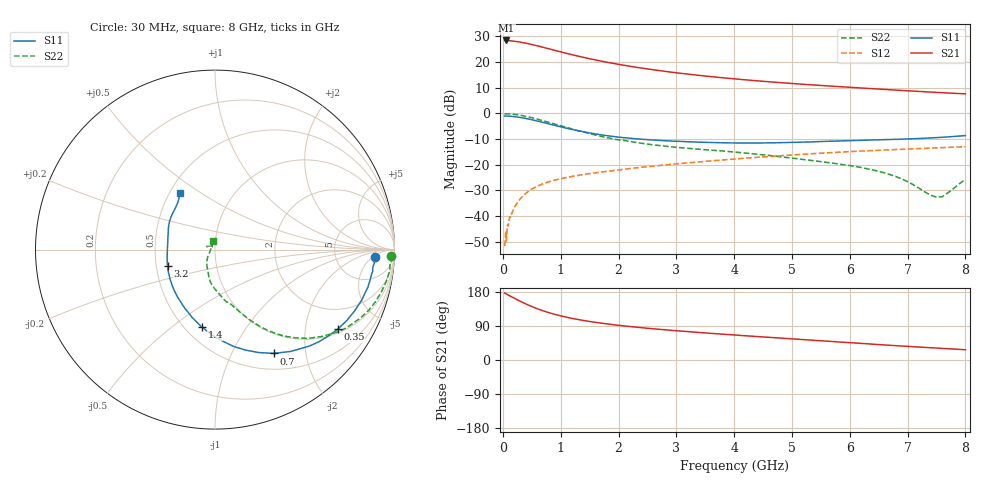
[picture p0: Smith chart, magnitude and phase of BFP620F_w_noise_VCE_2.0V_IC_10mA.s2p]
! Infineon Technologies  Discrete & RF Semiconductors
! BFP620F
! VCE =  2.0 V,  IC =  10 mA
! Common Emitter S-Parameters:  Dec 2014
# GHz  S  MA  R  50
!  f  S11  S21  S12  S22
! GHz  MAG  ANG  MAG  ANG  MAG  ANG  MAG  ANG
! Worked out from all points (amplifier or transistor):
!   95 points, 30 MHz to 8 GHz, reference 50 ohm
!   highest |S21| = 28.4 dB at 60 MHz (marker M1)
!   |S21| within 3 dB of that: start of sweep to 753.8 MHz
!   unconditionally stable (mu >= 1): 3.924 GHz to end of sweep
!   at 300 MHz: K = 0.17, MSG = 30.5 dB, |S12| = -33.4 dB
!   at 3.3 GHz: K = 0.96, MSG = 17.0 dB, |S12| = -19.1 dB
!   at 8 GHz: K = 1.09, MAG = 8.5 dB, |S12| = -13.0 dB
!   lowest NFmin = 0.60 dB at 450 MHz
!   S11 on the Smith chart (normalised r, x): 30 MHz: 15, -6; 350 MHz: 1.13, -2.99; 700 MHz: 0.71, -1.47; 1.4 GHz: 0.60, -0.64; 3.2 GHz: 0.57, -0.12; 8 GHz: 0.56, +0.41
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0.03  0.8906 -2.8  26.26 176.9  0.0026 77.8  0.9819 -2.1
0.06  0.8867 -5.7  26.27 174.6  0.0033 105.2  0.9823 -4.1
0.13  0.8781 -12.7  25.94 168.5  0.0095 82.0  0.9733 -9.6
0.25  0.8484 -24.0  24.91 158.8  0.0182 76.2  0.939 -18.2
0.35  0.8146 -33.0  23.75 151.4  0.025 72.5  0.8975 -24.9
0.4  0.7935 -37.5  23.26 147.7  0.0278 71.5  0.8727 -28.0
0.5  0.7522 -45.6  21.92 141.2  0.0337 67.8  0.8241 -33.8
0.6  0.7068 -53.4  20.6 135.0  0.0386 64.8  0.7686 -39.0
0.7  0.6645 -60.5  19.29 129.6  0.0429 62.3  0.7165 -43.7
0.8  0.622 -67.2  18.03 124.7  0.0468 60.0  0.6659 -47.6
1  0.5482 -79.3  15.75 116.5  0.0536 57.0  0.5743 -54.3
1.2  0.4863 -90.0  13.85 109.7  0.0595 54.8  0.497 -59.6
1.4  0.4377 -99.7  12.28 104.2  0.0648 53.6  0.4325 -64.0
1.6  0.3987 -108.7  10.98 99.4  0.0696 52.7  0.38 -67.9
1.9  0.3559 -120.8  9.442 93.4  0.0767 51.8  0.32 -73.4
2.7  0.2985 -147.4  6.823 81.1  0.0962 49.5  0.2371 -86.5
3.2  0.28 -160.5  5.807 74.9  0.1089 48.1  0.2089 -92.3
4.1  0.2654 -179.8  4.597 65.0  0.1316 44.9  0.173 -99.6
5.4  0.2805 158.1  3.558 51.7  0.1653 38.8  0.1188 -110.6
6.7  0.3102 139.6  2.883 38.8  0.1954 31.2  0.0641 -131.3
7.5  0.3376 127.6  2.562 31.5  0.213 26.8  0.0234 166.5
8  0.3701 122.2  2.398 27.1  0.2245 23.7  0.0518 103.3
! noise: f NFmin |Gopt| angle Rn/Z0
0.45  0.6  0.26  8  0.22
0.9  0.67  0.25  19  0.19
1.5  0.73  0.24  21  0.15
1.8  0.75  0.22  24  0.13
1.9  0.76  0.18  38  0.15
2.4  0.81  0.15  54  0.13
3.5  0.91  0.14  75  0.12
5.5  1.08  0.11  178  0.1
6  1.12  0.1  207  0.16
